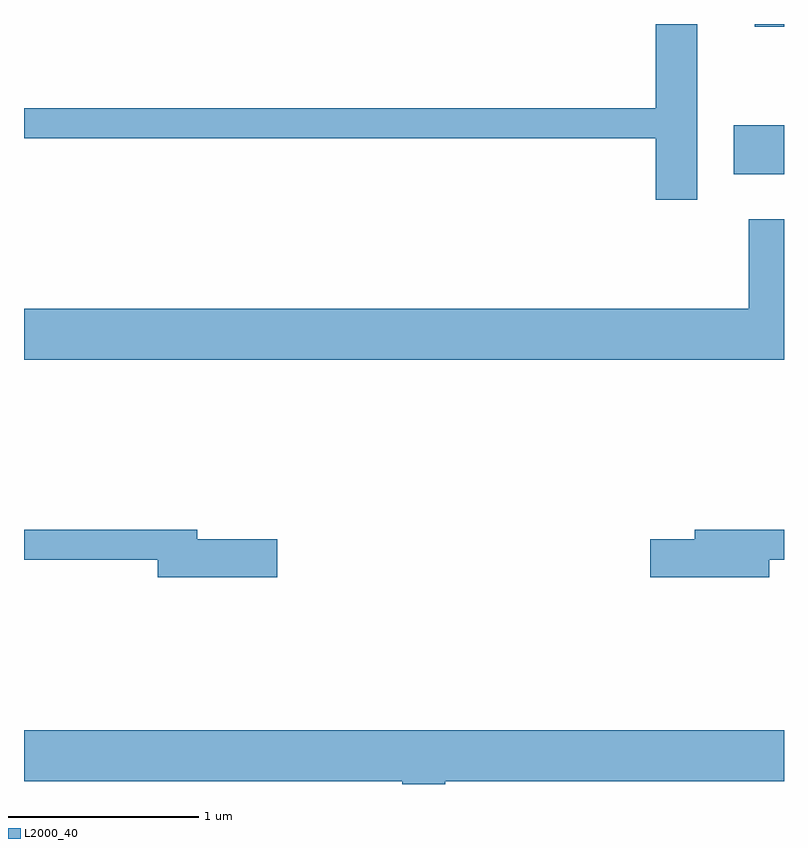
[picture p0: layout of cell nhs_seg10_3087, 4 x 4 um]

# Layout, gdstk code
import gdstk
lib = gdstk.Library(unit=1e-6, precision=1e-09)
def R(c, l, rs):  # rectangles x0, y0, x1, y1
    for r in rs: c.add(gdstk.rectangle(r[:2], r[2:], *l))
def P(c, l, *ps):  # polygons
    for p in ps: c.add(gdstk.Polygon(p, *l))
L2000_40 = (2000, 40)

nhs_seg10_3087 = lib.new_cell('nhs_seg10_3087')
R(nhs_seg10_3087, L2000_40, [(279.346,2163.731,279.611,2163.989), (279.456,2164.508,279.611,2164.522)])
P(nhs_seg10_3087, L2000_40, [(279.154,2164.522),(278.936,2164.522),(278.936,2164.079),(275.611,2164.079),(275.611,2163.921),(278.936,2163.921),(278.936,2163.596),(279.154,2163.596)],
  [(279.611,2163.494),(279.426,2163.494),(279.426,2163.024),(275.611,2163.024),(275.611,2162.756),(279.611,2162.756)],
  [(276.944,2161.809),(276.524,2161.809),(276.524,2161.859),(275.611,2161.859),(275.611,2161.701),(276.316,2161.701),(276.316,2161.611),(276.944,2161.611)],
  [(279.534,2161.701),(279.611,2161.701),(279.611,2161.859),(279.141,2161.859),(279.141,2161.809),(278.906,2161.809),(278.906,2161.611),(279.534,2161.611)],
  [(277.829,2160.536),(279.611,2160.536),(279.611,2160.804),(275.611,2160.804),(275.611,2160.536),(277.601,2160.536),(277.601,2160.522),(277.829,2160.522)])

lib.write_gds('nhs_seg10_3087.gds')
